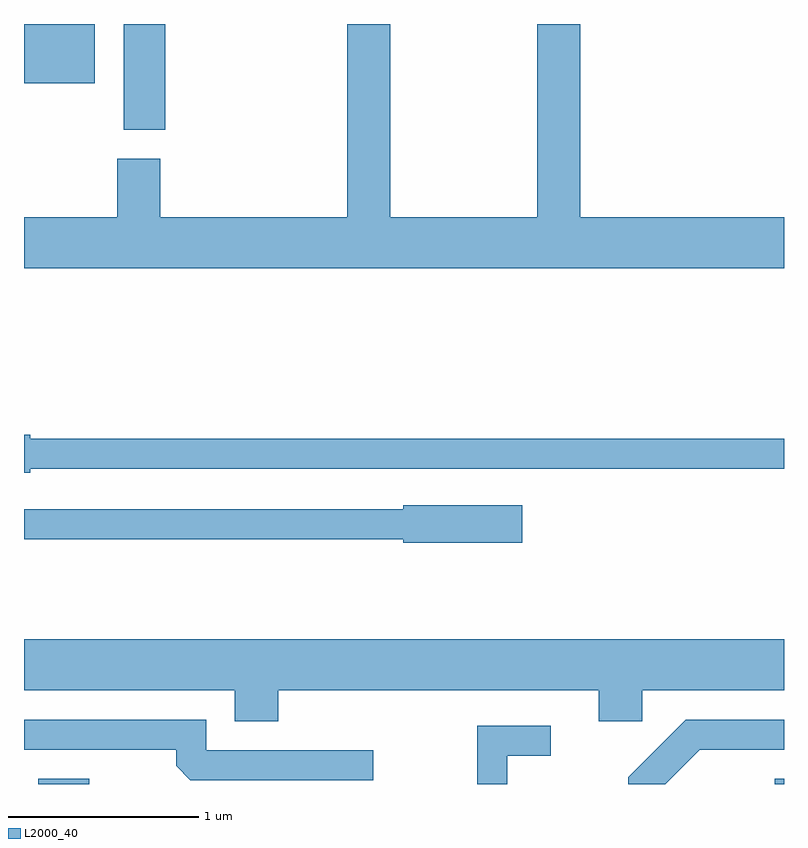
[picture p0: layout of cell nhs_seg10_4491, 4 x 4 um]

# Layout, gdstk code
import gdstk
lib = gdstk.Library(unit=1e-6, precision=1e-09)
def R(c, l, rs):  # rectangles x0, y0, x1, y1
    for r in rs: c.add(gdstk.rectangle(r[:2], r[2:], *l))
def P(c, l, *ps):  # polygons
    for p in ps: c.add(gdstk.Polygon(p, *l))
L2000_40 = (2000, 40)

nhs_seg10_4491 = lib.new_cell('nhs_seg10_4491')
R(nhs_seg10_4491, L2000_40, [(317.686,2124.522,317.954,2124.549), (321.561,2124.522,321.611,2124.549), (318.136,2127.966,318.354,2128.522), (317.611,2128.211,317.984,2128.522)])
P(nhs_seg10_4491, L2000_40, [(321.611,2127.504),(320.539,2127.504),(320.539,2128.522),(320.311,2128.522),(320.311,2127.504),(319.539,2127.504),(319.539,2128.522),(319.311,2128.522),(319.311,2127.504),(318.329,2127.504),(318.329,2127.814),(318.101,2127.814),(318.101,2127.504),(317.611,2127.504),(317.611,2127.236),(321.611,2127.236)],
  [(317.644,2126.181),(321.611,2126.181),(321.611,2126.339),(317.644,2126.339),(317.644,2126.359),(317.611,2126.359),(317.611,2126.161),(317.644,2126.161)],
  [(320.234,2125.989),(319.606,2125.989),(319.606,2125.969),(317.611,2125.969),(317.611,2125.811),(319.606,2125.811),(319.606,2125.791),(320.234,2125.791)],
  [(318.949,2125.016),(320.636,2125.016),(320.636,2124.851),(320.864,2124.851),(320.864,2125.016),(321.611,2125.016),(321.611,2125.284),(317.611,2125.284),(317.611,2125.016),(318.721,2125.016),(318.721,2124.851),(318.949,2124.851)],
  [(319.448,2124.699),(318.569,2124.699),(318.569,2124.859),(317.611,2124.859),(317.611,2124.701),(318.411,2124.701),(318.411,2124.617),(318.487,2124.541),(319.448,2124.541)],
  [(321.167,2124.701),(321.611,2124.701),(321.611,2124.859),(321.094,2124.859),(320.791,2124.557),(320.791,2124.522),(320.987,2124.522)],
  [(320.154,2124.671),(320.383,2124.671),(320.383,2124.829),(319.996,2124.829),(319.996,2124.522),(320.154,2124.522)])

lib.write_gds('nhs_seg10_4491.gds')
